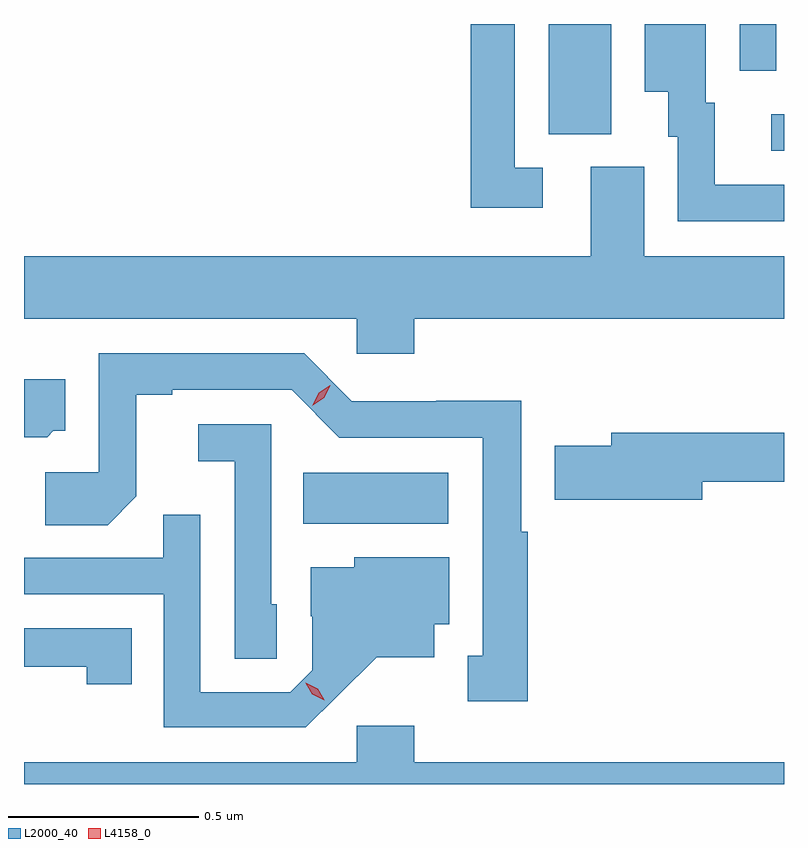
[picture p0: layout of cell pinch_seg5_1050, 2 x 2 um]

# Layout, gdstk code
import gdstk
lib = gdstk.Library(unit=1e-6, precision=1e-09)
def R(c, l, rs):  # rectangles x0, y0, x1, y1
    for r in rs: c.add(gdstk.rectangle(r[:2], r[2:], *l))
def P(c, l, *ps):  # polygons
    for p in ps: c.add(gdstk.Polygon(p, *l))
L2000_40 = (2000, 40)
L4158_0 = (4158, 0)

pinch_seg5_1050 = lib.new_cell('pinch_seg5_1050')
R(pinch_seg5_1050, L2000_40, [(737.878,842.9,738.259,843.034), (739.11,843.882,739.143,843.978), (738.524,843.925,738.688,844.215), (739.026,844.092,739.122,844.215)])
P(pinch_seg5_1050, L2000_40, [(739.143,843.792),(738.961,843.792),(738.961,844.008),(738.937,844.008),(738.937,844.215),(738.776,844.215),(738.776,844.037),(738.839,844.037),(738.839,843.918),(738.864,843.918),(738.864,843.696),(739.143,843.696)],
  [(738.508,843.837),(738.435,843.837),(738.435,844.215),(738.319,844.215),(738.319,843.732),(738.508,843.732)],
  [(738.17,843.44),(739.143,843.44),(739.143,843.604),(738.775,843.604),(738.775,843.84),(738.635,843.84),(738.635,843.604),(737.143,843.604),(737.143,843.44),(738.018,843.44),(738.018,843.347),(738.17,843.347)],
  [(738.469,842.879),(738.451,842.879),(738.451,843.224),(738.228,843.224),(738.228,843.222),(738.006,843.222),(737.88,843.348),(737.34,843.348),(737.34,843.036),(737.199,843.036),(737.199,842.896),(737.363,842.896),(737.439,842.972),(737.439,843.24),(737.533,843.24),(737.533,843.252),(737.847,843.252),(737.973,843.126),(738.35,843.126),(738.35,842.553),(738.311,842.553),(738.311,842.433),(738.469,842.433)],
  [(737.22,843.144),(737.251,843.144),(737.251,843.28),(737.143,843.28),(737.143,843.128),(737.204,843.128)],
  [(737.808,842.688),(737.793,842.688),(737.793,843.162),(737.601,843.162),(737.601,843.065),(737.697,843.065),(737.697,842.545),(737.808,842.545)],
  [(738.928,843.01),(739.143,843.01),(739.143,843.139),(738.689,843.139),(738.689,843.105),(738.54,843.105),(738.54,842.963),(738.928,842.963)],
  [(737.968,842.447),(738.071,842.549),(738.223,842.549),(738.223,842.636),(738.262,842.636),(738.262,842.812),(738.012,842.812),(738.012,842.785),(737.897,842.785),(737.897,842.656),(737.901,842.656),(737.901,842.514),(737.844,842.457),(737.607,842.457),(737.607,842.924),(737.509,842.924),(737.509,842.811),(737.143,842.811),(737.143,842.715),(737.511,842.715),(737.511,842.364),(737.884,842.364)],
  [(737.426,842.625),(737.143,842.625),(737.143,842.524),(737.308,842.524),(737.308,842.478),(737.426,842.478)],
  [(739.143,842.272),(738.17,842.272),(738.17,842.368),(738.018,842.368),(738.018,842.272),(737.143,842.272),(737.143,842.215),(739.143,842.215)])
P(pinch_seg5_1050, L4158_0, [(737.933,842.436),(737.902,842.451),(737.884,842.48),(737.884,842.481),(737.885,842.481),(737.916,842.466),(737.933,842.437),(737.933,842.436)],
  [(737.902,843.211),(737.902,843.211),(737.918,843.244),(737.949,843.264),(737.949,843.264),(737.949,843.263),(737.933,843.231),(737.902,843.211)])

lib.write_gds('pinch_seg5_1050.gds')
